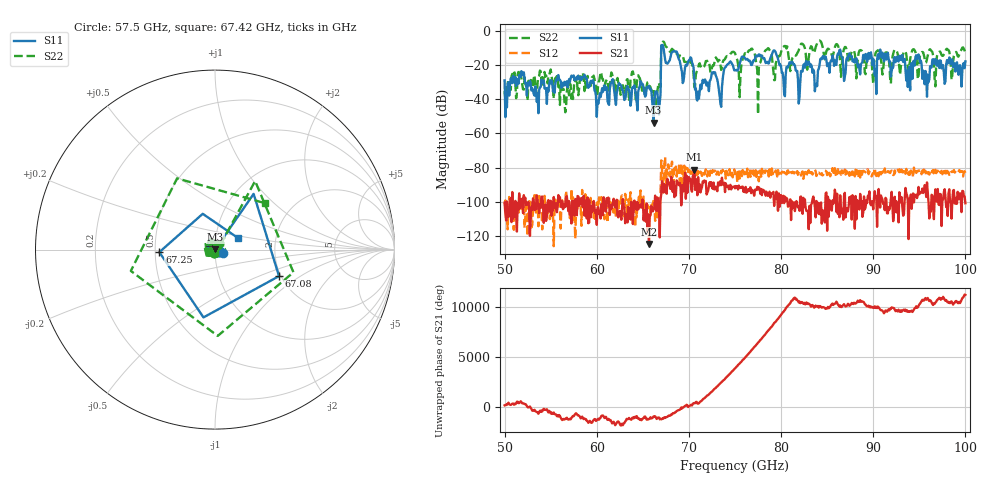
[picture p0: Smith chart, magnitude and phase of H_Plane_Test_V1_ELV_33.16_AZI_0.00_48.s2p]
! 11/27/2026 8:33:42 AM
! C:\ANRITSUVNA\TEMP\TEMP.S2P
! CHANNEL.1
! TR.MEASUREMENT
! RAW.DATA
# HZ S RI R 50.0
! FREQ.HZ  S11RE  S11IM  S21RE  S21IM  S12RE  S12IM  S22RE  S22IM
!; PortSelection: Port_12
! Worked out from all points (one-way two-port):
!   601 points, 50 GHz to 100 GHz, reference 50 ohm
!   highest |S21| = -81.20 dB at 70.58 GHz (marker M1); lowest = -124.7 dB at 65.67 GHz (marker M2)
!   lowest |S11| = -53.7 dB at 66.17 GHz (marker M3), VSWR 1.00, Z = 50.1 + j0.155 ohm
!   |S11| at or under -10 dB: start of sweep to 67 GHz; 67.24 GHz to end of sweep
!   |S22| runs from -48.9 to -5.6 dB; largest |S21 - S12| = 0.00019
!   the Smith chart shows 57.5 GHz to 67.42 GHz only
!   S11 on the Smith chart (normalised r, x): 57.5 GHz: 1.09, -0.05; 67.08 GHz: 1.95, -0.68; 67.25 GHz: 0.53, -0.02; 67.42 GHz: 1.29, +0.17
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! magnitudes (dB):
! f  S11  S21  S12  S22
! 50 GHz  -29.0  -100.6  -101.5  -35.3
! 57.5 GHz  -26.1  -99.6  -110.7  -34.5
! 58.42 GHz  -27.1  -99.1  -93.1  -24.8
! 60.17 GHz  -42.7  -103.2  -103.5  -30.1
! 65.67 GHz  -32.1  -124.7  -101.3  -30.8
! 66.17 GHz  -53.7  -104.4  -99.4  -34.0
! 66.67 GHz  -41.8  -104.7  -104.9  -31.6
! 67.08 GHz  -8.3  -88.0  -81.3  -6.8
! 67.25 GHz  -10.2  -94.6  -87.2  -6.3
! 67.42 GHz  -16.8  -90.6  -73.8  -8.4
! 70.58 GHz  -27.7  -81.2  -86.2  -32.9
! 73.42 GHz  -42.4  -87.9  -82.0  -19.8
! 75 GHz  -23.1  -92.2  -83.7  -13.0
! 77.58 GHz  -13.8  -91.5  -88.0  -21.7
! 78.5 GHz  -18.2  -95.7  -83.5  -10.8
! 79.33 GHz  -11.7  -96.6  -83.7  -28.8
! 80.25 GHz  -27.9  -96.5  -82.8  -9.4
! 83.42 GHz  -24.5  -98.5  -84.1  -10.8
! 91.67 GHz  -16.6  -103.3  -82.8  -15.2
! 94.83 GHz  -14.9  -96.1  -81.9  -28.3
! 95.83 GHz  -38.6  -88.7  -82.8  -16.4
! 100 GHz  -17.9  -100.9  -83.0  -12.5
